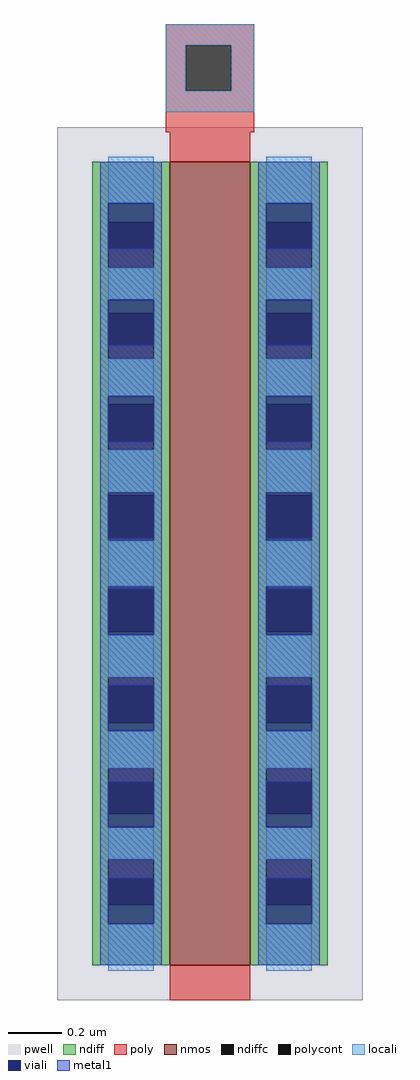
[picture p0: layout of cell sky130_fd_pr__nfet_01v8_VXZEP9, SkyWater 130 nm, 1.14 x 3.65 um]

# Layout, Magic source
magic
tech sky130A
magscale 1 2
<< pwell >>
rect -114 -357 114 295
<< nmos >>
rect -30 -331 30 269
<< ndiff >>
rect -88 224 -30 269
rect -88 190 -76 224
rect -42 190 -30 224
rect -88 156 -30 190
rect -88 122 -76 156
rect -42 122 -30 156
rect -88 88 -30 122
rect -88 54 -76 88
rect -42 54 -30 88
rect -88 20 -30 54
rect -88 -14 -76 20
rect -42 -14 -30 20
rect -88 -48 -30 -14
rect -88 -82 -76 -48
rect -42 -82 -30 -48
rect -88 -116 -30 -82
rect -88 -150 -76 -116
rect -42 -150 -30 -116
rect -88 -184 -30 -150
rect -88 -218 -76 -184
rect -42 -218 -30 -184
rect -88 -252 -30 -218
rect -88 -286 -76 -252
rect -42 -286 -30 -252
rect -88 -331 -30 -286
rect 30 224 88 269
rect 30 190 42 224
rect 76 190 88 224
rect 30 156 88 190
rect 30 122 42 156
rect 76 122 88 156
rect 30 88 88 122
rect 30 54 42 88
rect 76 54 88 88
rect 30 20 88 54
rect 30 -14 42 20
rect 76 -14 88 20
rect 30 -48 88 -14
rect 30 -82 42 -48
rect 76 -82 88 -48
rect 30 -116 88 -82
rect 30 -150 42 -116
rect 76 -150 88 -116
rect 30 -184 88 -150
rect 30 -218 42 -184
rect 76 -218 88 -184
rect 30 -252 88 -218
rect 30 -286 42 -252
rect 76 -286 88 -252
rect 30 -331 88 -286
<< ndiffc >>
rect -76 190 -42 224
rect -76 122 -42 156
rect -76 54 -42 88
rect -76 -14 -42 20
rect -76 -82 -42 -48
rect -76 -150 -42 -116
rect -76 -218 -42 -184
rect -76 -286 -42 -252
rect 42 190 76 224
rect 42 122 76 156
rect 42 54 76 88
rect 42 -14 76 20
rect 42 -82 76 -48
rect 42 -150 76 -116
rect 42 -218 76 -184
rect 42 -286 76 -252
<< poly >>
rect -33 356 33 372
rect -33 322 -18 356
rect 16 322 33 356
rect -33 291 33 322
rect -30 269 30 291
rect -30 -357 30 -331
<< polycont >>
rect -18 322 16 356
<< locali >>
rect -33 356 33 372
rect -33 322 -18 356
rect 16 322 33 356
rect -33 306 33 322
rect -76 238 -42 273
rect -76 166 -42 190
rect -76 94 -42 122
rect -76 22 -42 54
rect -76 -48 -42 -14
rect -76 -116 -42 -84
rect -76 -184 -42 -156
rect -76 -252 -42 -228
rect -76 -335 -42 -300
rect 42 238 76 273
rect 42 166 76 190
rect 42 94 76 122
rect 42 22 76 54
rect 42 -48 76 -14
rect 42 -116 76 -84
rect 42 -184 76 -156
rect 42 -252 76 -228
rect 42 -335 76 -300
<< viali >>
rect -76 224 -42 238
rect -76 204 -42 224
rect -76 156 -42 166
rect -76 132 -42 156
rect -76 88 -42 94
rect -76 60 -42 88
rect -76 20 -42 22
rect -76 -12 -42 20
rect -76 -82 -42 -50
rect -76 -84 -42 -82
rect -76 -150 -42 -122
rect -76 -156 -42 -150
rect -76 -218 -42 -194
rect -76 -228 -42 -218
rect -76 -286 -42 -266
rect -76 -300 -42 -286
rect 42 224 76 238
rect 42 204 76 224
rect 42 156 76 166
rect 42 132 76 156
rect 42 88 76 94
rect 42 60 76 88
rect 42 20 76 22
rect 42 -12 76 20
rect 42 -82 76 -50
rect 42 -84 76 -82
rect 42 -150 76 -122
rect 42 -156 76 -150
rect 42 -218 76 -194
rect 42 -228 76 -218
rect 42 -286 76 -266
rect 42 -300 76 -286
<< metal1 >>
rect -82 238 -36 269
rect -82 204 -76 238
rect -42 204 -36 238
rect -82 166 -36 204
rect -82 132 -76 166
rect -42 132 -36 166
rect -82 94 -36 132
rect -82 60 -76 94
rect -42 60 -36 94
rect -82 22 -36 60
rect -82 -12 -76 22
rect -42 -12 -36 22
rect -82 -50 -36 -12
rect -82 -84 -76 -50
rect -42 -84 -36 -50
rect -82 -122 -36 -84
rect -82 -156 -76 -122
rect -42 -156 -36 -122
rect -82 -194 -36 -156
rect -82 -228 -76 -194
rect -42 -228 -36 -194
rect -82 -266 -36 -228
rect -82 -300 -76 -266
rect -42 -300 -36 -266
rect -82 -331 -36 -300
rect 36 238 82 269
rect 36 204 42 238
rect 76 204 82 238
rect 36 166 82 204
rect 36 132 42 166
rect 76 132 82 166
rect 36 94 82 132
rect 36 60 42 94
rect 76 60 82 94
rect 36 22 82 60
rect 36 -12 42 22
rect 76 -12 82 22
rect 36 -50 82 -12
rect 36 -84 42 -50
rect 76 -84 82 -50
rect 36 -122 82 -84
rect 36 -156 42 -122
rect 76 -156 82 -122
rect 36 -194 82 -156
rect 36 -228 42 -194
rect 76 -228 82 -194
rect 36 -266 82 -228
rect 36 -300 42 -266
rect 76 -300 82 -266
rect 36 -331 82 -300
<< end >>
